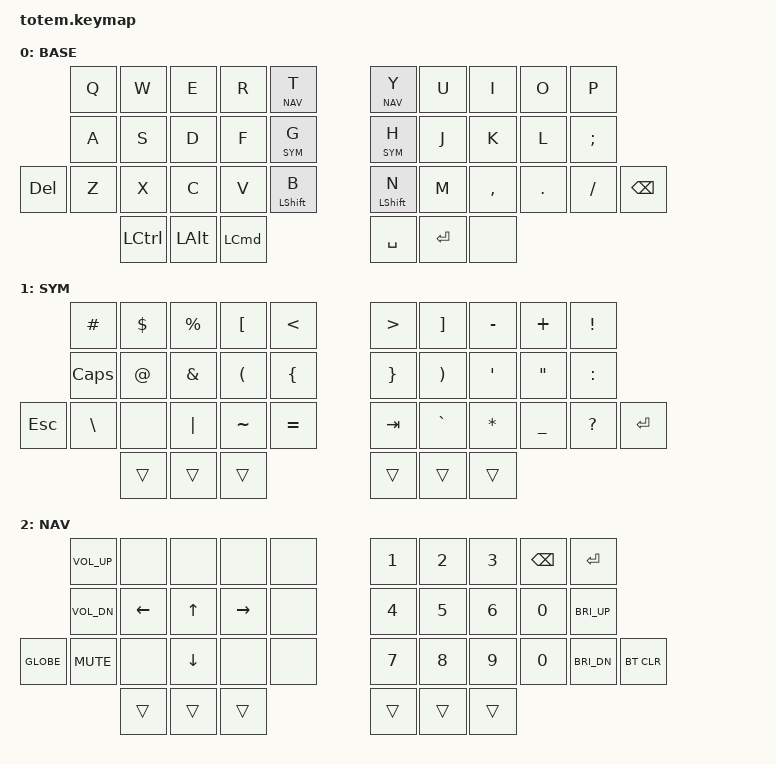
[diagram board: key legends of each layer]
//
//                                                        ▀▀▀▀▀     ▀▀▀▀▀          ▀▀█▀▀
//                                                        ▄▀▀▀▄  ▄  ▄▀▀▀▄  ▄  ▄▀▀▀▄  █  ▄▀▀▀▄
//                                                        █   █  █  █   █  █  █   █  █  █   █
//                                                         ▀▀▀   █   ▀▀▀   █   ▀▀▀   ▀   ▀▀▀
//                                                               █      ▄▄▄█▄▄▄    █   █
//                                                               ▀      █  █  █     █▄█
//                                                             ▀▀▀▀▀    █  █  █      ▀
//                                                                      ▀  ▀  ▀
//
// ▄▄▄▄▄▄▄▄▄▄▄▄▄▄▄▄▄▄▄▄▄▄▄▄▄▄▄▄▄▄▄▄▄▄▄▄▄▄▄▄▄▄▄▄▄▄▄▄▄▄▄▄▄▄▄▄▄▄▄▄▄▄▄▄▄▄▄▄▄▄▄▄▄▄▄▄▄▄▄▄▄▄▄▄▄▄▄▄▄▄▄▄▄▄▄▄▄▄▄▄▄▄▄▄▄▄▄▄▄▄▄▄▄▄▄▄▄▄▄▄▄▄▄▄▄▄▄▄▄▄▄▄▄▄▄▄▄▄▄▄▄▄▄▄▄▄▄▄▄


#include <behaviors.dtsi>
#include <dt-bindings/zmk/keys.h>
#include <dt-bindings/zmk/bt.h>
#include <dt-bindings/zmk/outputs.h>

#define BASE 0
#define SYM  1
#define NAV  2

&mt {
  quick-tap-ms = <100>;
  global-quick-tap;
  flavor = "tap-preferred";
  tapping-term-ms = <170>;
};

/ {
//    conditional_layers {
//        compatible = "zmk,conditional-layers";
//        tri_layer {
//            if-layers = <SYM NAV>;
//            then-layer = <ADJ>;
//        };
//    };


//  macros {
//        ten: ten {
//            compatible = "zmk,behavior-macro";
//            #binding-cells = <14>;
//            bindings
//                = <&kp N1 &kp N0>
//                ;
//        };
//    };

   combos {
        compatible = "zmk,combos";
        combo_esc {
            timeout-ms = <50>;
            layers = <NAV>;
            key-positions = <4 5>;
            bindings = <&bt BT_CLR>;
        };
    };

    keymap {
      compatible = "zmk,keymap";
// ▄▄▄▄▄▄▄▄▄▄▄▄▄▄▄▄▄▄▄▄▄▄▄▄▄▄▄▄▄▄▄▄▄▄▄▄▄▄▄▄▄▄▄▄▄▄▄▄▄▄▄▄▄▄▄▄▄▄▄▄▄▄▄▄▄▄▄▄▄▄▄▄▄▄▄▄▄▄▄▄▄▄▄▄▄▄▄▄▄▄▄▄▄▄▄▄▄▄▄▄▄▄▄▄▄▄▄▄▄▄▄▄▄▄▄▄▄▄▄▄▄▄▄▄▄▄▄▄▄▄▄▄▄▄▄▄▄▄▄▄▄▄▄▄▄▄▄▄▄

                base_layer {
// ┏━━━━━━━━━━━━━━━━━━━━━━━━━━━━━━━━━━━━━━━┓
label= "BASE"                              ;
// ┗━━━━━━━━━━━━━━━━━━━━━━━━━━━━━━━━━━━━━━━┛
 bindings = <
                &kp Q   &kp W   &kp E   &kp R   &lt NAV T               &lt NAV Y      &kp U     &kp I       &kp O     &kp P
                &kp A   &kp S   &kp D   &kp F   &lt SYM G               &lt SYM H      &kp J     &kp K       &kp L     &kp SEMI
      &kp DEL   &kp Z   &kp X   &kp C   &kp V   &mt LSHIFT  B           &mt LSHIFT N   &kp M     &kp COMMA   &kp DOT   &kp FSLH   &kp BSPC
                        &kp LCTRL   &kp LALT    &kp LCMD                &kp SPACE      &kp RET   &none
                        >;
                };

// ▄▄▄▄▄▄▄▄▄▄▄▄▄▄▄▄▄▄▄▄▄▄▄▄▄▄▄▄▄▄▄▄▄▄▄▄▄▄▄▄▄▄▄▄▄▄▄▄▄▄▄▄▄▄▄▄▄▄▄▄▄▄▄▄▄▄▄▄▄▄▄▄▄▄▄▄▄▄▄▄▄▄▄▄▄▄▄▄▄▄▄▄▄▄▄▄▄▄▄▄▄▄▄▄▄▄▄▄▄▄▄▄▄▄▄▄▄▄▄▄▄▄▄▄▄▄▄▄▄▄▄▄▄▄▄▄▄▄▄▄▄▄▄▄▄▄▄▄▄


                sym_layer {
// ┏━━━━━━━━━━━━━━━━━━━━━━━━━━━━━━━━━━━━━━━┓
label= "SYM"                              ;
// ┗━━━━━━━━━━━━━━━━━━━━━━━━━━━━━━━━━━━━━━━┛
 bindings = <
                &kp HASH   &kp DLLR   &kp PRCNT   &kp LBKT    &kp LT            &kp GT     &kp RBKT    &kp MINUS   &kp PLUS    &kp EXCL
                &kp CAPS   &kp AT     &kp AMPS    &kp LPAR    &kp LBRC          &kp RBRC   &kp RPAR    &kp APOS    &kp DQT     &kp COLON
      &kp ESC   &kp BSLH   &none      &kp PIPE    &kp TILDE   &kp EQUAL         &kp TAB    &kp GRAVE   &kp STAR    &kp UNDER   &kp QMARK   &kp RET
                                      &trans      &trans      &trans            &trans     &trans     &trans
                        >;
                };

// ▄▄▄▄▄▄▄▄▄▄▄▄▄▄▄▄▄▄▄▄▄▄▄▄▄▄▄▄▄▄▄▄▄▄▄▄▄▄▄▄▄▄▄▄▄▄▄▄▄▄▄▄▄▄▄▄▄▄▄▄▄▄▄▄▄▄▄▄▄▄▄▄▄▄▄▄▄▄▄▄▄▄▄▄▄▄▄▄▄▄▄▄▄▄▄▄▄▄▄▄▄▄▄▄▄▄▄▄▄▄▄▄▄▄▄▄▄▄▄▄▄▄▄▄▄▄▄▄▄▄▄▄▄▄▄▄▄▄▄▄▄▄▄▄▄▄▄▄▄


                nav_layer {
// ┏━━━━━━━━━━━━━━━━━━━━━━━━━━━━━━━━━━━━━━━┓
label= "NAV"                              ;
// ┗━━━━━━━━━━━━━━━━━━━━━━━━━━━━━━━━━━━━━━━┛
 bindings = <
                &kp C_VOL_UP       &none       &none       &none       &none        &kp N1      &kp N2      &kp N3      &kp BSPC     &kp RET
                &kp C_VOL_DN       &kp LEFT    &kp UP      &kp RIGHT   &none        &kp N4      &kp N5      &kp N6      &kp N0       &kp C_BRI_UP
    &kp GLOBE   &kp C_MUTE         &none       &kp DOWN    &none       &none        &kp N7      &kp N8      &kp N9      &kp N0       &kp C_BRI_DN   &bt BT_CLR
                                               &trans      &trans      &trans       &trans      &trans      &trans
                        >;
                };

        };
};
